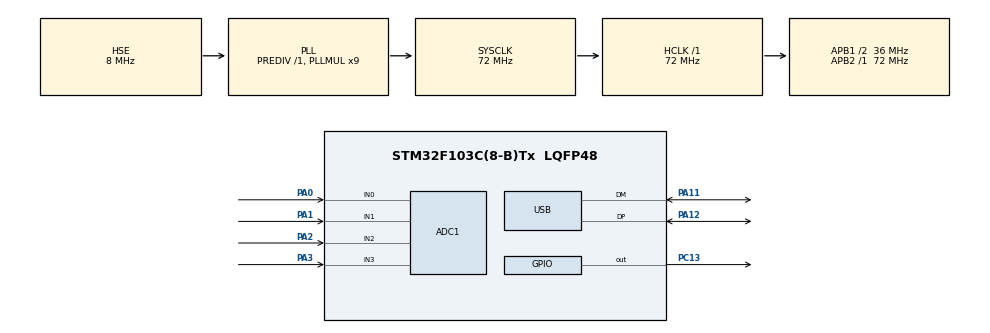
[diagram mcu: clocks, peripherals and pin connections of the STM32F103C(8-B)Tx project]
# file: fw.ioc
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ADC1.Channel-0\#ChannelRegularConversion=ADC_CHANNEL_0
ADC1.NbrOfConversionFlag=1
ADC1.Rank-0\#ChannelRegularConversion=1
ADC1.SamplingTime-0\#ChannelRegularConversion=ADC_SAMPLETIME_1CYCLE_5
ADC1.master=1
Mcu.Family=STM32F1
Mcu.Name=STM32F103C(8-B)Tx
Mcu.Package=LQFP48
NVIC.PriorityGroup=NVIC_PRIORITYGROUP_4
NVIC.USB_LP_CAN1_RX0_IRQn=true\:0\:0\:false\:false\:true\:false\:true
PA0-WKUP.Signal=ADCx_IN0
PA1.Signal=ADCx_IN1
PA11.Mode=Device
PA11.Signal=USB_DM
PA12.Mode=Device
PA12.Signal=USB_DP
PA13.Mode=Serial_Wire
PA13.Signal=SYS_JTMS-SWDIO
PA14.Mode=Serial_Wire
PA14.Signal=SYS_JTCK-SWCLK
PA2.Signal=ADCx_IN2
PA3.Signal=ADCx_IN3
PC13-TAMPER-RTC.Signal=GPIO_Output
PD0-OSC_IN.Mode=HSE-External-Oscillator
PD0-OSC_IN.Signal=RCC_OSC_IN
PD1-OSC_OUT.Mode=HSE-External-Oscillator
PD1-OSC_OUT.Signal=RCC_OSC_OUT
ProjectManager.HeapSize=0x200
ProjectManager.StackSize=0x400
ProjectManager.TargetToolchain=Other Toolchains (GPDSC)
RCC.ADCPresc=RCC_ADCPCLK2_DIV6
RCC.AHBFreq_Value=72000000
RCC.APB1CLKDivider=RCC_HCLK_DIV2
RCC.APB1Freq_Value=36000000
RCC.APB1TimFreq_Value=72000000
RCC.APB2Freq_Value=72000000
RCC.APB2TimFreq_Value=72000000
RCC.HCLKFreq_Value=72000000
RCC.PLLMUL=RCC_PLL_MUL9
RCC.SYSCLKFreq_VALUE=72000000
RCC.SYSCLKSource=RCC_SYSCLKSOURCE_PLLCLK
RCC.USBFreq_Value=48000000
RCC.USBPrescaler=RCC_USBCLKSOURCE_PLL_DIV1_5
SH.ADCx_IN0.0=ADC1_IN0,IN0
SH.ADCx_IN1.0=ADC1_IN1,IN1
SH.ADCx_IN2.0=ADC1_IN2,IN2
SH.ADCx_IN3.0=ADC1_IN3,IN3
USB_DEVICE.CLASS_NAME_FS=CDC
USB_DEVICE.VirtualMode=Cdc
USB_DEVICE.VirtualModeFS=Cdc_FS
VP_USB_DEVICE_VS_USB_DEVICE_CDC_FS.Mode=CDC_FS
board=custom

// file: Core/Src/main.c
/* USER CODE BEGIN Header */
/**
  ******************************************************************************
  * @file           : main.c
  * @brief          : Main program body
  ******************************************************************************
  * @attention
  *
  * <h2><center>&copy; Copyright (c) 2020 STMicroelectronics.
  * All rights reserved.</center></h2>
  *
  * This software component is licensed by ST under Ultimate Liberty license
  * SLA0044, the "License"; You may not use this file except in compliance with
  * the License. You may obtain a copy of the License at:
  *                             www.st.com/SLA0044
  *
  ******************************************************************************
  */
/* USER CODE END Header */

#include "main.h"
#include "usb_device.h"

/* USER CODE BEGIN Includes */
#include "usbd_cdc_if.h"
/* USER CODE END Includes */

ADC_HandleTypeDef hadc1;

void SystemClock_Config(void);
static void MX_GPIO_Init(void);
static void MX_ADC1_Init(void);

/* USER CODE BEGIN 0 */
volatile uint8_t infoFlag, measureFlag;
volatile int32_t val0, val1, val2, val3;
ADC_ChannelConfTypeDef channelConfig;

uint32_t ADC_Measure(uint32_t adcChannel)
{
    channelConfig.Channel = adcChannel;
    channelConfig.Rank = ADC_REGULAR_RANK_1;
    channelConfig.SamplingTime = ADC_SAMPLETIME_1CYCLE_5;

    if (HAL_ADC_ConfigChannel(&hadc1, &channelConfig) != HAL_OK)
        Error_Handler();

    HAL_ADC_Start(&hadc1);

    if(HAL_ADC_PollForConversion(&hadc1,1000) != HAL_OK)
        Error_Handler();

    HAL_ADC_Stop(&hadc1);

    return HAL_ADC_GetValue(&hadc1);
}

/* USER CODE END 0 */

int main(void)
{

    /* MCU Configuration--------------------------------------------------------*/

    /* Reset of all peripherals, Initializes the Flash interface and the Systick. */
    HAL_Init();

    /* Configure the system clock */
    SystemClock_Config();

    /* Initialize all configured peripherals */
    MX_GPIO_Init();
    MX_ADC1_Init();
    MX_USB_DEVICE_Init();
    /* USER CODE BEGIN 2 */
    HAL_GPIO_WritePin(GPIOC, GPIO_PIN_13, GPIO_PIN_SET);
    HAL_ADCEx_Calibration_Start(&hadc1);
    HAL_ADC_Start(&hadc1);
    /* USER CODE END 2 */

    /* Infinite loop */
    while (1)
    {

        /* USER CODE BEGIN 3 */

        if (infoFlag != 0)
        {
            infoFlag = 0;

            uint8_t msg[] = "BalanceV1/7C2819CB28A24092918400DCC8942852";
            CDC_Transmit_FS((unsigned char*)&msg, strlen((const char*)msg));
        }

        if (measureFlag != 0)
        {
            measureFlag = 0;

            uint8_t msg[32];
            sprintf((char*)msg, "%d/%d/%d/%d", (int)ADC_Measure(0), (int)ADC_Measure(1), (int)ADC_Measure(2), (int)ADC_Measure(3));
            CDC_Transmit_FS((unsigned char*)&msg, strlen((const char*)msg));
        }
    }
    /* USER CODE END 3 */
}

void SystemClock_Config(void)
{
  RCC_OscInitTypeDef RCC_OscInitStruct = {0};
  RCC_ClkInitTypeDef RCC_ClkInitStruct = {0};
  RCC_PeriphCLKInitTypeDef PeriphClkInit = {0};

  /** Initializes the CPU, AHB and APB busses clocks
  */
  RCC_OscInitStruct.OscillatorType = RCC_OSCILLATORTYPE_HSE;
  RCC_OscInitStruct.HSEState = RCC_HSE_ON;
  RCC_OscInitStruct.HSEPredivValue = RCC_HSE_PREDIV_DIV1;
  RCC_OscInitStruct.HSIState = RCC_HSI_ON;
  RCC_OscInitStruct.PLL.PLLState = RCC_PLL_ON;
  RCC_OscInitStruct.PLL.PLLSource = RCC_PLLSOURCE_HSE;
  RCC_OscInitStruct.PLL.PLLMUL = RCC_PLL_MUL9;
  if (HAL_RCC_OscConfig(&RCC_OscInitStruct) != HAL_OK)
  {
    Error_Handler();
  }
  /** Initializes the CPU, AHB and APB busses clocks
  */
  RCC_ClkInitStruct.ClockType = RCC_CLOCKTYPE_HCLK|RCC_CLOCKTYPE_SYSCLK
                              |RCC_CLOCKTYPE_PCLK1|RCC_CLOCKTYPE_PCLK2;
  RCC_ClkInitStruct.SYSCLKSource = RCC_SYSCLKSOURCE_PLLCLK;
  RCC_ClkInitStruct.AHBCLKDivider = RCC_SYSCLK_DIV1;
  RCC_ClkInitStruct.APB1CLKDivider = RCC_HCLK_DIV2;
  RCC_ClkInitStruct.APB2CLKDivider = RCC_HCLK_DIV1;

  if (HAL_RCC_ClockConfig(&RCC_ClkInitStruct, FLASH_LATENCY_2) != HAL_OK)
  {
    Error_Handler();
  }
  PeriphClkInit.PeriphClockSelection = RCC_PERIPHCLK_ADC|RCC_PERIPHCLK_USB;
  PeriphClkInit.AdcClockSelection = RCC_ADCPCLK2_DIV6;
  PeriphClkInit.UsbClockSelection = RCC_USBCLKSOURCE_PLL_DIV1_5;
  if (HAL_RCCEx_PeriphCLKConfig(&PeriphClkInit) != HAL_OK)
  {
    Error_Handler();
  }
}

static void MX_ADC1_Init(void)
{

  ADC_ChannelConfTypeDef sConfig = {0};

  /** Common config
  */
  hadc1.Instance = ADC1;
  hadc1.Init.ScanConvMode = ADC_SCAN_DISABLE;
  hadc1.Init.ContinuousConvMode = DISABLE;
  hadc1.Init.DiscontinuousConvMode = DISABLE;
  hadc1.Init.ExternalTrigConv = ADC_SOFTWARE_START;
  hadc1.Init.DataAlign = ADC_DATAALIGN_RIGHT;
  hadc1.Init.NbrOfConversion = 1;
  if (HAL_ADC_Init(&hadc1) != HAL_OK)
  {
    Error_Handler();
  }
  /** Configure Regular Channel
  */
  sConfig.Channel = ADC_CHANNEL_0;
  sConfig.Rank = ADC_REGULAR_RANK_1;
  sConfig.SamplingTime = ADC_SAMPLETIME_1CYCLE_5;
  if (HAL_ADC_ConfigChannel(&hadc1, &sConfig) != HAL_OK)
  {
    Error_Handler();
  }

}

static void MX_GPIO_Init(void)
{
  GPIO_InitTypeDef GPIO_InitStruct = {0};

  /* GPIO Ports Clock Enable */
  __HAL_RCC_GPIOC_CLK_ENABLE();
  __HAL_RCC_GPIOD_CLK_ENABLE();
  __HAL_RCC_GPIOA_CLK_ENABLE();

  /*Configure GPIO pin Output Level */
  HAL_GPIO_WritePin(GPIOC, GPIO_PIN_13, GPIO_PIN_RESET);

  /*Configure GPIO pin : PC13 */
  GPIO_InitStruct.Pin = GPIO_PIN_13;
  GPIO_InitStruct.Mode = GPIO_MODE_OUTPUT_PP;
  GPIO_InitStruct.Pull = GPIO_NOPULL;
  GPIO_InitStruct.Speed = GPIO_SPEED_FREQ_LOW;
  HAL_GPIO_Init(GPIOC, &GPIO_InitStruct);

}

void Error_Handler(void)
{
}

/************************ (C) COPYRIGHT STMicroelectronics *****END OF FILE****/
